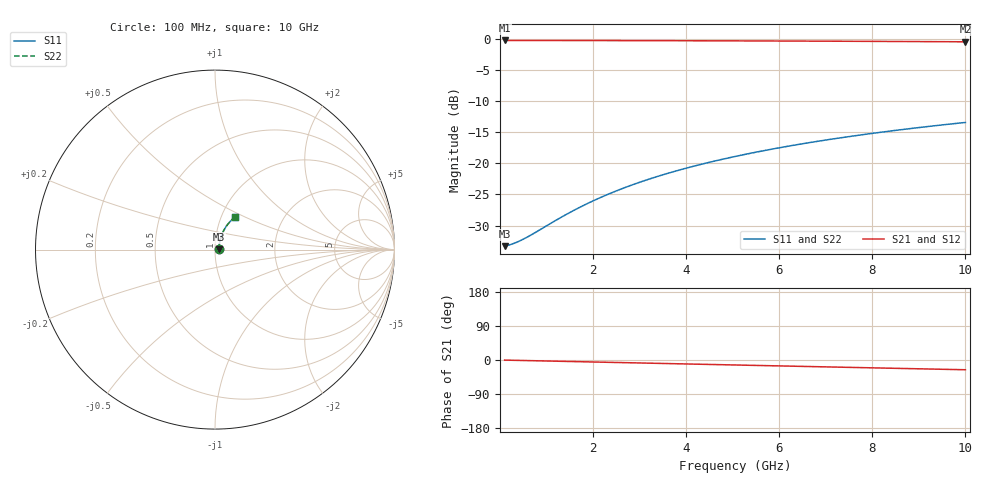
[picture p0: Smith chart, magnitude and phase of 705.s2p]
# Hz S RI R 50.00
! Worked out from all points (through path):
!   100 points, 100 MHz to 10 GHz, reference 50 ohm
!   highest |S21| = -0.19 dB at 100 MHz (marker M1); lowest = -0.4 dB at 10 GHz (marker M2)
!   group delay of S21, straight-line fit = 7.15 ps
!   lowest |S11| = -33.3 dB at 100 MHz (marker M3), VSWR 1.04, Z = 52.2 + j0.224 ohm
!   |S11| at or under -10 dB: start of sweep to end of sweep
!   |S22| runs from -33.3 to -13.4 dB; largest |S21 - S12| = 0
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1e8  0.0215 0.00214  0.9785 -0.00446  0.9785 -0.00446  0.0215 0.00214
2e8  0.0216 0.00428  0.9784 -0.00893  0.9784 -0.00893  0.0216 0.00428
3e8  0.0218 0.00642  0.9782 -0.0134  0.9782 -0.0134  0.0218 0.00642
5e8  0.0221 0.0107  0.9778 -0.0223  0.9778 -0.0223  0.0221 0.0107
7e8  0.0224 0.015  0.9774 -0.0312  0.9774 -0.0312  0.0224 0.015
1.2e9  0.0236 0.0256  0.976 -0.0535  0.976 -0.0535  0.0236 0.0256
1.4e9  0.0242 0.0298  0.9753 -0.0623  0.9753 -0.0623  0.0242 0.0298
1.8e9  0.0255 0.0382  0.9735 -0.0801  0.9735 -0.0801  0.0255 0.0382
2.2e9  0.0272 0.0466  0.9714 -0.0977  0.9714 -0.0977  0.0272 0.0466
2.6e9  0.0291 0.0549  0.969 -0.1153  0.969 -0.1153  0.0291 0.0549
3e9  0.0314 0.0631  0.9661 -0.1328  0.9661 -0.1328  0.0314 0.0631
3.4e9  0.0339 0.0712  0.9628 -0.1502  0.9628 -0.1502  0.0339 0.0712
3.8e9  0.0368 0.0792  0.9592 -0.1675  0.9592 -0.1675  0.0368 0.0792
4.2e9  0.0399 0.0871  0.9552 -0.1847  0.9552 -0.1847  0.0399 0.0871
4.6e9  0.0432 0.0949  0.9509 -0.2017  0.9509 -0.2017  0.0432 0.0949
5.1e9  0.0478 0.1044  0.9449 -0.2228  0.9449 -0.2228  0.0478 0.1044
5.9e9  0.0561 0.119  0.9343 -0.2561  0.9343 -0.2561  0.0561 0.119
6.7e9  0.0653 0.133  0.9223 -0.2887  0.9223 -0.2887  0.0653 0.133
7.5e9  0.0754 0.1462  0.909 -0.3205  0.909 -0.3205  0.0754 0.1462
8.4e9  0.0879 0.1601  0.8925 -0.3553  0.8925 -0.3553  0.0879 0.1601
9.2e9  0.0998 0.1715  0.8767 -0.3853  0.8767 -0.3853  0.0998 0.1715
1e10  0.1124 0.182  0.8598 -0.4143  0.8598 -0.4143  0.1124 0.182
